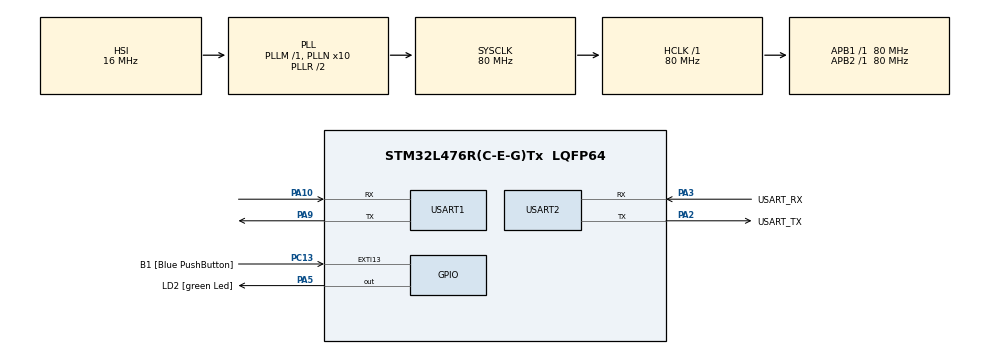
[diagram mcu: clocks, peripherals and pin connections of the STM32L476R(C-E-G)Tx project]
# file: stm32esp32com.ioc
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Mcu.Family=STM32L4
Mcu.Name=STM32L476R(C-E-G)Tx
Mcu.Package=LQFP64
NVIC.PriorityGroup=NVIC_PRIORITYGROUP_4
PA10.Mode=Asynchronous
PA10.Signal=USART1_RX
PA13\ (JTMS-SWDIO).GPIO_Label=TMS
PA13\ (JTMS-SWDIO).Mode=Serial_Wire
PA13\ (JTMS-SWDIO).Signal=SYS_JTMS-SWDIO
PA14\ (JTCK-SWCLK).GPIO_Label=TCK
PA14\ (JTCK-SWCLK).Mode=Serial_Wire
PA14\ (JTCK-SWCLK).Signal=SYS_JTCK-SWCLK
PA2.GPIO_Label=USART_TX
PA2.GPIO_Mode=GPIO_MODE_AF_PP
PA2.GPIO_PuPd=GPIO_NOPULL
PA2.GPIO_Speed=GPIO_SPEED_FREQ_VERY_HIGH
PA2.Mode=Asynchronous
PA2.Signal=USART2_TX
PA3.GPIO_Label=USART_RX
PA3.GPIO_Mode=GPIO_MODE_AF_PP
PA3.GPIO_PuPd=GPIO_NOPULL
PA3.GPIO_Speed=GPIO_SPEED_FREQ_VERY_HIGH
PA3.Mode=Asynchronous
PA3.Signal=USART2_RX
PA5.GPIO_Label=LD2 [green Led]
PA5.GPIO_ModeDefaultOutputPP=GPIO_MODE_OUTPUT_PP
PA5.GPIO_PuPd=GPIO_NOPULL
PA5.GPIO_Speed=GPIO_SPEED_FREQ_LOW
PA5.Signal=GPIO_Output
PA9.Mode=Asynchronous
PA9.Signal=USART1_TX
PB3\ (JTDO-TRACESWO).GPIO_Label=SWO
PB3\ (JTDO-TRACESWO).Signal=SYS_JTDO-SWO
PC13.GPIO_Label=B1 [Blue PushButton]
PC13.GPIO_ModeDefaultEXTI=GPIO_MODE_IT_FALLING
PC13.GPIO_PuPd=GPIO_NOPULL
PC13.Signal=GPXTI13
PC14-OSC32_IN\ (PC14).Mode=LSE-External-Oscillator
PC14-OSC32_IN\ (PC14).Signal=RCC_OSC32_IN
PC15-OSC32_OUT\ (PC15).Mode=LSE-External-Oscillator
PC15-OSC32_OUT\ (PC15).Signal=RCC_OSC32_OUT
PH0-OSC_IN\ (PH0).Signal=RCC_OSC_IN
PH1-OSC_OUT\ (PH1).Signal=RCC_OSC_OUT
ProjectManager.HeapSize=0x200
ProjectManager.StackSize=0x400
ProjectManager.TargetToolchain=CMake
RCC.ADCFreq_Value=64000000
RCC.AHBFreq_Value=80000000
RCC.APB1Freq_Value=80000000
RCC.APB1TimFreq_Value=80000000
RCC.APB2Freq_Value=80000000
RCC.APB2TimFreq_Value=80000000
RCC.CortexFreq_Value=80000000
RCC.HCLKFreq_Value=80000000
RCC.HSE_VALUE=8000000
RCC.HSI_VALUE=16000000
RCC.MSI_VALUE=4000000
RCC.PLLN=10
RCC.PLLSourceVirtual=RCC_PLLSOURCE_HSI
RCC.PREFETCH_ENABLE=1
RCC.SYSCLKFreq_VALUE=80000000
RCC.SYSCLKSource=RCC_SYSCLKSOURCE_PLLCLK
RCC.USBFreq_Value=64000000
RCC.VCOOutputFreq_Value=160000000
USART1.VirtualMode-Asynchronous=VM_ASYNC
USART2.VirtualMode-Asynchronous=VM_ASYNC
board=NUCLEO-L476RG

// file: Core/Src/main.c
/* USER CODE BEGIN Header */
/**
  ******************************************************************************
  * @file           : main.c
  * @brief          : Main program body
  ******************************************************************************
  * @attention
  *
  * Copyright (c) 2026 STMicroelectronics.
  * All rights reserved.
  *
  * This software is licensed under terms that can be found in the LICENSE file
  * in the root directory of this software component.
  * If no LICENSE file comes with this software, it is provided AS-IS.
  *
  ******************************************************************************
  */
/* USER CODE END Header */
#include "main.h"

UART_HandleTypeDef huart1;
UART_HandleTypeDef huart2;

void SystemClock_Config(void);
static void MX_GPIO_Init(void);
static void MX_USART2_UART_Init(void);
static void MX_USART1_UART_Init(void);

/* USER CODE BEGIN 0 */
static uint8_t crc8(const uint8_t *data, uint8_t len)
{
  uint8_t crc = 0x00;
  for (uint8_t i = 0; i < len; i++) {
    crc ^= data[i];
    for (uint8_t b = 0; b < 8; b++) {
      crc = (crc & 0x80) ? (uint8_t)((crc << 1) ^ 0x31) : (uint8_t)(crc << 1);
    }
  }
  return crc;
}
/* USER CODE END 0 */

int main(void)
{

  /* USER CODE BEGIN 1 */
  uint8_t b;
  uint8_t state = 0;
  uint8_t rxSeq = 0;
  uint32_t good = 0, bad = 0;
  /* USER CODE END 1 */

  /* MCU Configuration--------------------------------------------------------*/

  /* Reset of all peripherals, Initializes the Flash interface and the Systick. */
  HAL_Init();

  /* Configure the system clock */
  SystemClock_Config();

  /* Initialize all configured peripherals */
  MX_GPIO_Init();
  MX_USART2_UART_Init();
  MX_USART1_UART_Init();

  /* Infinite loop */
  while (1)
  {

/* USER CODE BEGIN 3 */
if (HAL_UART_Receive(&huart1, &b, 1, 10) == HAL_OK)
{
  switch (state)
  {
    case 0:                          // hunting for 0xAA
      if (b == 0xAA) state = 1;
      break;

    case 1:                          // expecting 0x55
      if      (b == 0x55) state = 2;
      else if (b == 0xAA) state = 1; // could be the real start — stay here
      else                state = 0;
      break;

    case 2:                          // payload byte
      rxSeq = b;
      state = 3;
      break;

    case 3:                          // checksum
      if (b == crc8(&rxSeq, 1)) {
        good++;
        HAL_GPIO_TogglePin(LD2_GPIO_Port, LD2_Pin);
        HAL_UART_Transmit(&huart1, &rxSeq, 1, 10);   // echo the seq back
      } else {
        bad++;
      }
      state = 0;
      break;
    }
  }
 }
/* USER CODE END 3 */
}

void SystemClock_Config(void)
{
  RCC_OscInitTypeDef RCC_OscInitStruct = {0};
  RCC_ClkInitTypeDef RCC_ClkInitStruct = {0};

  /** Configure the main internal regulator output voltage
  */
  if (HAL_PWREx_ControlVoltageScaling(PWR_REGULATOR_VOLTAGE_SCALE1) != HAL_OK)
  {
    Error_Handler();
  }

  /** Initializes the RCC Oscillators according to the specified parameters
  * in the RCC_OscInitTypeDef structure.
  */
  RCC_OscInitStruct.OscillatorType = RCC_OSCILLATORTYPE_HSI;
  RCC_OscInitStruct.HSIState = RCC_HSI_ON;
  RCC_OscInitStruct.HSICalibrationValue = RCC_HSICALIBRATION_DEFAULT;
  RCC_OscInitStruct.PLL.PLLState = RCC_PLL_ON;
  RCC_OscInitStruct.PLL.PLLSource = RCC_PLLSOURCE_HSI;
  RCC_OscInitStruct.PLL.PLLM = 1;
  RCC_OscInitStruct.PLL.PLLN = 10;
  RCC_OscInitStruct.PLL.PLLP = RCC_PLLP_DIV7;
  RCC_OscInitStruct.PLL.PLLQ = RCC_PLLQ_DIV2;
  RCC_OscInitStruct.PLL.PLLR = RCC_PLLR_DIV2;
  if (HAL_RCC_OscConfig(&RCC_OscInitStruct) != HAL_OK)
  {
    Error_Handler();
  }

  /** Initializes the CPU, AHB and APB buses clocks
  */
  RCC_ClkInitStruct.ClockType = RCC_CLOCKTYPE_HCLK|RCC_CLOCKTYPE_SYSCLK
                              |RCC_CLOCKTYPE_PCLK1|RCC_CLOCKTYPE_PCLK2;
  RCC_ClkInitStruct.SYSCLKSource = RCC_SYSCLKSOURCE_PLLCLK;
  RCC_ClkInitStruct.AHBCLKDivider = RCC_SYSCLK_DIV1;
  RCC_ClkInitStruct.APB1CLKDivider = RCC_HCLK_DIV1;
  RCC_ClkInitStruct.APB2CLKDivider = RCC_HCLK_DIV1;

  if (HAL_RCC_ClockConfig(&RCC_ClkInitStruct, FLASH_LATENCY_4) != HAL_OK)
  {
    Error_Handler();
  }
}

static void MX_USART1_UART_Init(void)
{

  huart1.Instance = USART1;
  huart1.Init.BaudRate = 115200;
  huart1.Init.WordLength = UART_WORDLENGTH_8B;
  huart1.Init.StopBits = UART_STOPBITS_1;
  huart1.Init.Parity = UART_PARITY_NONE;
  huart1.Init.Mode = UART_MODE_TX_RX;
  huart1.Init.HwFlowCtl = UART_HWCONTROL_NONE;
  huart1.Init.OverSampling = UART_OVERSAMPLING_16;
  huart1.Init.OneBitSampling = UART_ONE_BIT_SAMPLE_DISABLE;
  huart1.AdvancedInit.AdvFeatureInit = UART_ADVFEATURE_NO_INIT;
  if (HAL_UART_Init(&huart1) != HAL_OK)
  {
    Error_Handler();
  }

}

static void MX_USART2_UART_Init(void)
{

  huart2.Instance = USART2;
  huart2.Init.BaudRate = 115200;
  huart2.Init.WordLength = UART_WORDLENGTH_8B;
  huart2.Init.StopBits = UART_STOPBITS_1;
  huart2.Init.Parity = UART_PARITY_NONE;
  huart2.Init.Mode = UART_MODE_TX_RX;
  huart2.Init.HwFlowCtl = UART_HWCONTROL_NONE;
  huart2.Init.OverSampling = UART_OVERSAMPLING_16;
  huart2.Init.OneBitSampling = UART_ONE_BIT_SAMPLE_DISABLE;
  huart2.AdvancedInit.AdvFeatureInit = UART_ADVFEATURE_NO_INIT;
  if (HAL_UART_Init(&huart2) != HAL_OK)
  {
    Error_Handler();
  }

}

static void MX_GPIO_Init(void)
{
  GPIO_InitTypeDef GPIO_InitStruct = {0};

  /* GPIO Ports Clock Enable */
  __HAL_RCC_GPIOC_CLK_ENABLE();
  __HAL_RCC_GPIOH_CLK_ENABLE();
  __HAL_RCC_GPIOA_CLK_ENABLE();
  __HAL_RCC_GPIOB_CLK_ENABLE();

  /*Configure GPIO pin Output Level */
  HAL_GPIO_WritePin(LD2_GPIO_Port, LD2_Pin, GPIO_PIN_RESET);

  /*Configure GPIO pin : B1_Pin */
  GPIO_InitStruct.Pin = B1_Pin;
  GPIO_InitStruct.Mode = GPIO_MODE_IT_FALLING;
  GPIO_InitStruct.Pull = GPIO_NOPULL;
  HAL_GPIO_Init(B1_GPIO_Port, &GPIO_InitStruct);

  /*Configure GPIO pin : LD2_Pin */
  GPIO_InitStruct.Pin = LD2_Pin;
  GPIO_InitStruct.Mode = GPIO_MODE_OUTPUT_PP;
  GPIO_InitStruct.Pull = GPIO_NOPULL;
  GPIO_InitStruct.Speed = GPIO_SPEED_FREQ_LOW;
  HAL_GPIO_Init(LD2_GPIO_Port, &GPIO_InitStruct);

}

void Error_Handler(void)
{
  __disable_irq();
  while (1)
  {
  }
}
